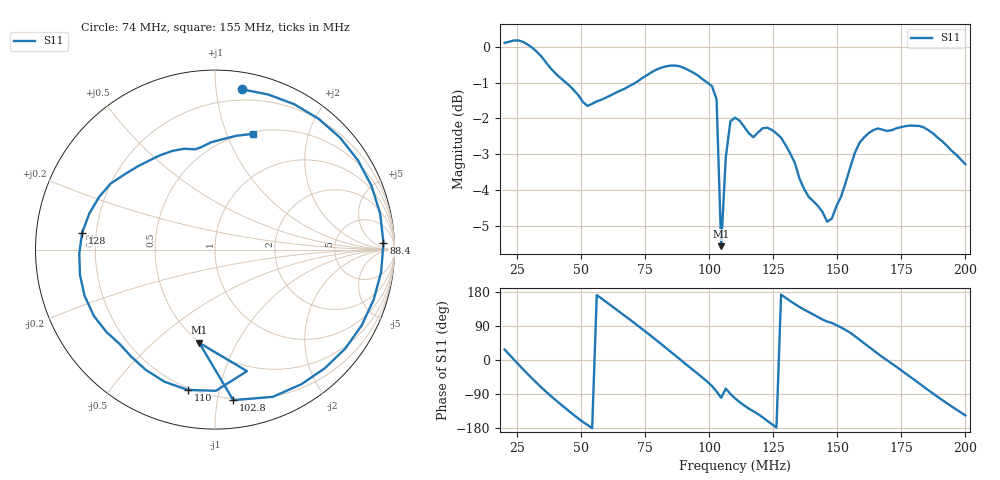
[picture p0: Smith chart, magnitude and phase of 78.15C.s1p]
# HZ S RI R 50
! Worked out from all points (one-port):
!   101 points, 20 MHz to 200 MHz, reference 50 ohm
!   lowest |S11| = -5.6 dB at 104.6 MHz (marker M1), VSWR 3.22, Z = 24.9 - j35.7 ohm
!   |S11| at or under -10 dB: nowhere
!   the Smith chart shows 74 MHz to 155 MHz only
!   S11 on the Smith chart (normalised r, x): 74 MHz: 0.12, +1.18; 88.4 MHz: 23, +15; 102.8 MHz: 0.19, -1.11; 110 MHz: 0.19, -0.81; 128 MHz: 0.15, +0.06; 155 MHz: 0.52, +1.24
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2e7  0.8966 0.4716
2.54e7  1 -0.2054
3.26e7  0.4767 -0.8611
3.8e7  -0.0738 -0.9302
4.34e7  -0.5161 -0.731
4.88e7  -0.7722 -0.3697
5.42e7  -0.8326 -0.00156
5.96e7  -0.7606 0.3777
6.5e7  -0.5153 0.6984
7.4e7  0.151 0.8929
8.12e7  0.6967 0.6239
8.84e7  0.9387 0.0382
9.56e7  0.7261 -0.5511
1.028e8  0.1016 -0.8388
1.046e8  -0.0885 -0.5187
1.064e8  0.178 -0.6773
1.1e8  -0.1517 -0.7816
1.208e8  -0.6746 -0.37
1.28e8  -0.7404 0.094
1.334e8  -0.5812 0.3681
1.46e8  -0.1119 0.5584
1.55e8  0.211 0.6443
1.604e8  0.5337 0.5226
1.658e8  0.7363 0.2212
1.73e8  0.733 -0.2332
1.784e8  0.5566 -0.5409
1.874e8  0.0169 -0.7563
2e8  -0.5689 -0.3821
